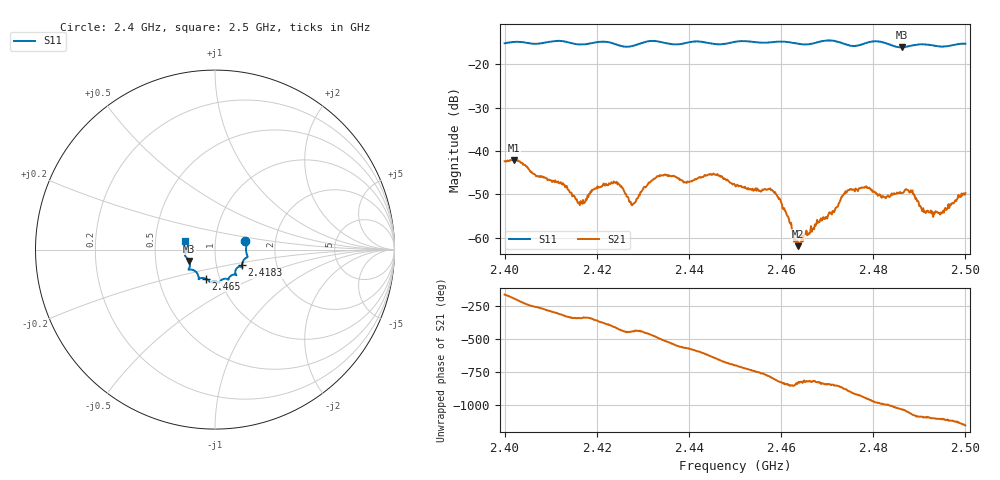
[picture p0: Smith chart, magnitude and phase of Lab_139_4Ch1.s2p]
# Hz S RI R 50
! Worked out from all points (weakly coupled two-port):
!   601 points, 2.4 GHz to 2.5 GHz, reference 50 ohm
!   highest |S21| = -42.03 dB at 2.402 GHz (marker M1); lowest = -61.9 dB at 2.4637 GHz (marker M2)
!   lowest |S11| = -16.1 dB at 2.4862 GHz (marker M3), VSWR 1.37, Z = 37.2 - j4.83 ohm
!   |S11| at or under -10 dB: start of sweep to end of sweep
!   S12 and S22 are empty: the file has one direction only
!   S11 on the Smith chart (normalised r, x): 2.4 GHz: 1.40, +0.14; 2.4183 GHz: 1.33, -0.24; 2.465 GHz: 0.86, -0.28; 2.5 GHz: 0.71, +0.07
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2.4e9  0.1686 0.0468  -0.00745 -0.00164  0 0  0 0
2.402e9  0.1775 0.0376  -0.00756 0.00233  0 0  0 0
2.4125e9  0.1807 -0.0419  0.0032 0.00258  0 0  0 0
2.416667e9  0.1548 -0.0684  0.00245 0.000622  0 0  0 0
2.418333e9  0.15 -0.0873  0.00308 0.000911  0 0  0 0
2.424167e9  0.1412 -0.0948  0.00234 -0.00357  0 0  0 0
2.428e9  0.1138 -0.1184  0.000188 -0.00249  0 0  0 0
2.433333e9  0.1175 -0.1411  -0.00351 -0.00369  0 0  0 0
2.439333e9  0.0773 -0.1586  -0.00379 0.00209  0 0  0 0
2.445667e9  0.0567 -0.1619  0.00128 0.00521  0 0  0 0
2.45e9  0.0263 -0.1802  0.00375 0.00154  0 0  0 0
2.4585e9  -0.0204 -0.1798  0.000477 -0.00328  0 0  0 0
2.463667e9  -0.0398 -0.1682  -0.000257 -0.000758  0 0  0 0
2.465e9  -0.0524 -0.1615  -3.92e-05 -0.00109  0 0  0 0
2.466667e9  -0.0712 -0.1576  -0.00027 -0.00114  0 0  0 0
2.474833e9  -0.0996 -0.1319  -0.00353 -0.000427  0 0  0 0
2.483333e9  -0.1412 -0.0966  0.000332 0.00298  0 0  0 0
2.486167e9  -0.1437 -0.0634  0.00211 0.00253  0 0  0 0
2.488e9  -0.1564 -0.0465  0.00308 0.00126  0 0  0 0
2.491e9  -0.1669 -0.034  0.00196 -0.000256  0 0  0 0
2.492833e9  -0.1641 -0.0219  0.00192 -0.000562  0 0  0 0
2.5e9  -0.1667 0.0467  0.00113 -0.00308  0 0  0 0
